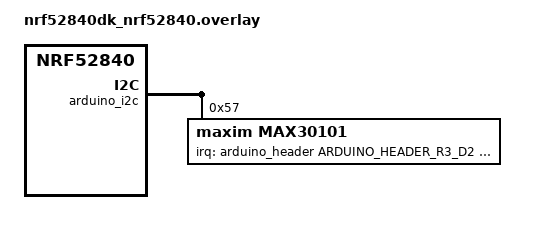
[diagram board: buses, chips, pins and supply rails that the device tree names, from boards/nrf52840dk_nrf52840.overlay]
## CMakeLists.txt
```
cmake_minimum_required(VERSION 3.20.0)

set(COMMON ${CMAKE_CURRENT_SOURCE_DIR}/../common)
list(APPEND EXTRA_CONF_FILE ${COMMON}/limits_crypto.conf ${COMMON}/pairing_crypto.conf
    ${CMAKE_CURRENT_SOURCE_DIR}/limits_store.conf)
find_package(Zephyr REQUIRED HINTS $ENV{ZEPHYR_BASE})
project(medsec_oximeter LANGUAGES C)

# core/ is the portable C the host tests run; the firmware builds it from the same sources.
set(CORE ${CMAKE_CURRENT_SOURCE_DIR}/../core)
target_sources(app PRIVATE src/main.c src/admission.c src/alarm_service.c src/device_identity.c
    src/event_log.c src/limits_crypto.c src/limits_store.c src/log_mac.c src/new_patient.c
    src/pairing.c src/plx_service.c src/supervisor.c src/update_guard.c src/update_log.c
    ${CORE}/src/alarm.c ${CORE}/src/device_key.c ${CORE}/src/limits_auth.c
    ${CORE}/src/link_admission.c ${CORE}/src/oximetry.c ${CORE}/src/plx.c
    ${CORE}/src/security_log.c ${CORE}/src/sensor_fifo.c ${CORE}/src/supervision.c
    ${COMMON}/src/medsec_crypto.c ${COMMON}/src/pairing_seal.c)
# common/ holds what the oximeter and the hub share.
target_include_directories(app PRIVATE ${CORE}/include ${COMMON}/include)
# The update guard names image-manager commands, and that header includes MCUboot's image headers.
target_link_libraries(app PRIVATE MCUBOOT_BOOTUTIL)
```

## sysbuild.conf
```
# MCUboot checks the oximeter's signature at every boot (docs/security/updatability.md). Swap using
# offset keeps the previous image until a new one has proved it works.
SB_CONFIG_BOOTLOADER_MCUBOOT=y
SB_CONFIG_BOOT_SIGNATURE_TYPE_ECDSA_P256=y
SB_CONFIG_MCUBOOT_MODE_SWAP_USING_OFFSET=y
# Made by app/sysbuild.cmake. Each image expands the path itself.
SB_CONFIG_BOOT_SIGNATURE_KEY_FILE="${WEST_TOPDIR}/build/release-key.pem"
```

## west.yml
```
# The Zephyr tree this firmware is built against. The repository root is the west workspace
# (west init -l app); everything west checks out lands under deps/, which git ignores.
manifest:
  remotes:
    - name: zephyrproject-rtos
      url-base: https://github.com/zephyrproject-rtos

  projects:
    - name: zephyr
      remote: zephyrproject-rtos
      revision: v4.4.2
      import:
        path-prefix: deps
        # Only the modules an nRF52840 build needs; add one when a feature needs it.
        name-allowlist:
          - cmsis_6     # CMSIS-Core for Cortex-M
          - hal_nordic  # nrfx drivers and the nRF devicetree bindings
          - mcuboot     # the bootloader that checks image signatures
          # Mbed TLS and TF-PSA-Crypto, which provides the PSA Crypto API.
          - mbedtls
          - tf-psa-crypto
          - zcbor       # CBOR, for MCUmgr's update protocol
```

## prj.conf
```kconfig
CONFIG_STD_C17=y
CONFIG_COMPILER_WARNINGS_AS_ERRORS=y
# The SpO2 ratio and the pulse period are single-precision floats.
CONFIG_FPU=y

CONFIG_LOG=y

CONFIG_SENSOR=y
# The sample callback sends BLE notifications, which must not run on the system work queue: the
# Bluetooth stack can need that queue to free the very buffers a notification waits for.
CONFIG_MAX30101_TRIGGER_OWN_THREAD=y
CONFIG_MAX30101_THREAD_SIZE=2048

CONFIG_BT=y
CONFIG_BT_PERIPHERAL=y
CONFIG_BT_DEVICE_NAME="medsec-oximeter"
# Advertises under a resolvable private address, a new one each boot and every 15 minutes, which
# only its bonded gateway can resolve: no fixed address to follow it by (threat T-13). The name
# isn't advertised either (src/admission.c).
CONFIG_BT_PRIVACY=y
# Pairs by LE Secure Connections only, authenticated with its sealed out-of-band data
# (src/pairing.c): security level 4 or nothing.
CONFIG_BT_SMP=y
CONFIG_BT_SMP_SC_ONLY=y
# Keeps the bond in flash, with the settings, so a reset doesn't mean pairing again. Zephyr writes
# it from the system work queue, whose default stack a settings write overflows.
CONFIG_BT_SETTINGS=y
CONFIG_SYSTEM_WORKQUEUE_STACK_SIZE=2048
# The hub starts encryption itself on every reconnection, so the oximeter doesn't also ask for it:
# with both starting it at once, the reconnection stalled in simulation.
CONFIG_BT_GATT_AUTO_SEC_REQ=n
# One bond, with the gateway. Pairing needs the backend's sealed data, so a new pairing is one the
# backend authorized, a replacement gateway, and it takes the old one's place.
CONFIG_BT_MAX_PAIRED=1
CONFIG_BT_KEYS_OVERWRITE_OLDEST=y
# Two connections, so a central that connects and never pairs can't shut the gateway out: while
# one holds a connection, the controller takes the other only from the bonded gateway's address,
# on its accept list (src/admission.c).
CONFIG_BT_MAX_CONN=2
CONFIG_BT_FILTER_ACCEPT_LIST=y
# The gateway sets the link's timing: a fast interval while it sends an update, a short supervision
# timeout so it soon notices a silent oximeter. The oximeter still publishes its preferences, but no
# longer asks for them 5 s into a link, which undid a fast interval mid-update.
CONFIG_BT_GAP_AUTO_UPDATE_CONN_PARAMS=n
# Only the Bluetooth features the oximeter uses, since a device that hasn't paired reaches every one
# that's on (tools/bt_features.py checks the build): no parameter requests in the link layer, LE Ping,
# feature exchange it starts, or channel-count requests, and no GATT caching or Read Multiple.
CONFIG_BT_CTLR_CONN_PARAM_REQ=n
CONFIG_BT_CTLR_LE_PING=n
CONFIG_BT_CTLR_PER_INIT_FEAT_XCHG=n
CONFIG_BT_CTLR_MIN_USED_CHAN=n
CONFIG_BT_GATT_CACHING=n
CONFIG_BT_GATT_READ_MULTIPLE=n
CONFIG_BT_GATT_READ_MULT_VAR_LEN=n

# Button 1's long press, which resets the oximeter for a new patient (src/new_patient.c).
CONFIG_INPUT=y

# A 247-byte ATT MTU: an update arrives in big pieces, and a signed limits change (21 bytes) in one
# write. It's the largest that still fits one 251-byte link-layer packet.
CONFIG_BT_BUF_ACL_RX_SIZE=251
CONFIG_BT_L2CAP_TX_MTU=247
# Data Length Extension: a whole ATT payload, such as a signed limits change, travels in one
# link-layer packet rather than several. Renode's radio model also needs it on an encrypted link: it
# delivers a packet that arrives while the receiver is still turning around one connection event
# late, and the link never catches up.
CONFIG_BT_CTLR_DATA_LENGTH_MAX=251
CONFIG_BT_BUF_ACL_TX_SIZE=251
# PSA Crypto starts on the main thread, and the HMAC check runs on the Bluetooth receive thread.
CONFIG_MAIN_STACK_SIZE=2048
CONFIG_BT_RX_STACK_SIZE=2048

# Resets the oximeter if it stops running (app/src/supervisor.c).
CONFIG_WATCHDOG=y

# The reset cause, for the security event log's start-up records.
CONFIG_HWINFO=y

# Reads the signed header of the running image, for its version, and marks an update as working.
CONFIG_STREAM_FLASH=y
CONFIG_IMG_MANAGER=y

# The release's security counter, in its signed header. Only a release that fixes a vulnerability
# raises it, and MCUboot then refuses every release before it.
CONFIG_MCUBOOT_EXTRA_IMGTOOL_ARGS="--security-counter 1"

# Updates over Bluetooth: MCUmgr's SMP server, with only what an update needs: image upload and
# state, and a reset. Zephyr allows SMP only over an authenticated link
# (MCUMGR_TRANSPORT_BT_PERM_RW_AUTHEN, its default once pairing is on).
CONFIG_NET_BUF=y
CONFIG_ZCBOR=y
CONFIG_MCUMGR=y
CONFIG_MCUMGR_TRANSPORT_BT=y
# A request longer than one ATT write comes in pieces.
CONFIG_MCUMGR_TRANSPORT_BT_REASSEMBLY=y
CONFIG_MCUMGR_GRP_IMG=y
CONFIG_MCUMGR_GRP_OS=y
CONFIG_MCUMGR_GRP_OS_ECHO=n
# The gateway marks an update for a test boot and nothing more; only the oximeter's self-test keeps
# it. It can't confirm an image that isn't running, and src/update_guard.c refuses any image-state
# change while an update is on trial.
CONFIG_MCUMGR_GRP_IMG_ALLOW_CONFIRM_NON_ACTIVE_SLOT=n
CONFIG_MCUMGR_GRP_IMG_ALLOW_CONFIRM_NON_ACTIVE_IMAGE_SECONDARY=n
CONFIG_MCUMGR_MGMT_NOTIFICATION_HOOKS=y
CONFIG_MCUMGR_SMP_COMMAND_STATUS_HOOKS=y
# MCUboot's library logs each slot's state every time it's asked, many times a second during an
# upload; only its warnings are news.
CONFIG_MCUBOOT_UTIL_LOG_LEVEL_WRN=y

# The build's metadata, which west spdx reads for the SBOM (tools/sbom.py).
CONFIG_BUILD_OUTPUT_META=y
```

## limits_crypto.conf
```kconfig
# PSA Crypto for signed alarm-limit changes: HMAC-SHA256, and random challenges. The firmware and
# app/tests/limits_crypto both use this file, so the tests check the configuration that ships.
CONFIG_PSA_CRYPTO=y
# Key material in fixed slots rather than on a heap.
CONFIG_MBEDTLS_PSA_STATIC_KEY_SLOTS=y
CONFIG_PSA_WANT_ALG_SHA_256=y
CONFIG_PSA_WANT_ALG_HMAC=y
CONFIG_PSA_WANT_KEY_TYPE_HMAC=y
CONFIG_ENTROPY_GENERATOR=y
```

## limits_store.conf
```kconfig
# Alarm limits kept in flash through resets: Zephyr's settings on NVS, in the storage partition.
# The firmware and app/tests/limits_store both use this file.
CONFIG_FLASH=y
CONFIG_FLASH_MAP=y
CONFIG_NVS=y
CONFIG_SETTINGS=y
CONFIG_SETTINGS_NVS=y
```

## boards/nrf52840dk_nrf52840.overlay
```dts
#include <zephyr/dt-bindings/gpio/arduino-header-r3.h>
#include <zephyr/dt-bindings/input/input-event-codes.h>

/ {
	/* Button 1 held for 5 s resets the oximeter for a new patient (src/new_patient.c). Long enough
	 * that a patient lying on it, or a brush in passing, doesn't. */
	new_patient_press: new-patient-press {
		compatible = "zephyr,input-longpress";
		input = <&{/buttons}>;
		input-codes = <INPUT_KEY_0>;
		long-codes = <INPUT_KEY_DELETE>;
		long-delay-ms = <5000>;
	};
};

/* Renode models the nRF52840's TWI, not its TWIM (EasyDMA) variant of the same I2C block, so
 * the firmware uses TWI and the image tested in simulation is the one that runs on the board. */
&arduino_i2c {
	compatible = "nordic,nrf-twi";
	status = "okay";

	max30101: max30101@57 {
		compatible = "maxim,max30101";
		reg = <0x57>;
		/* Open drain, so it needs the pull-up. */
		irq-gpios = <&arduino_header ARDUINO_HEADER_R3_D2 (GPIO_ACTIVE_LOW | GPIO_PULL_UP)>;
		acq-mode = "spo2";
		smp-sr = <100>;
		/* 411 us LED pulses give the full 18-bit resolution. */
		led-pw = <411>;
	};
};
```

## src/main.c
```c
#include "alarm_service.h"
#include "device_identity.h"
#include "event_log.h"
#include "log_mac.h"
#include "oximetry.h"
#include "pairing.h"
#include "pairing_seal.h"
#include "plx_service.h"
#include "sensor_fifo.h"
#include "supervisor.h"
#include "update_guard.h"
#include "update_log.h"

#include <mbedtls/platform_util.h>
#include <zephyr/device.h>
#include <zephyr/dfu/mcuboot.h>
#include <zephyr/drivers/i2c.h>
#include <zephyr/drivers/sensor.h>
#include <zephyr/logging/log.h>

LOG_MODULE_REGISTER(oximeter, LOG_LEVEL_INF);

#define SENSOR_NODE DT_NODELABEL(max30101)
/* FIFO_WR_PTR, then OVF_COUNTER and FIFO_RD_PTR: what sensor_fifo_t holds. */
#define SENSOR_FIFO_REGISTERS 0x04u
/* Samples per second reaching the FIFO: the sample rate after on-chip averaging. */
#define SAMPLE_RATE_HZ (DT_PROP(SENSOR_NODE, smp_sr) / DT_PROP(SENSOR_NODE, smp_ave))

BUILD_ASSERT(SAMPLE_RATE_HZ == OXIMETRY_SAMPLE_RATE_HZ,
             "the oximetry analysis expects the sensor at OXIMETRY_SAMPLE_RATE_HZ");

static const struct device *const sensor = DEVICE_DT_GET(SENSOR_NODE);
static const struct i2c_dt_spec sensor_bus = I2C_DT_SPEC_GET(SENSOR_NODE);
static oximetry_t oximetry;

/* Called with each reading: the self-test an update must pass. The sensor answered with its part
 * ID, Bluetooth is up, since main() starts the sensor after it, and the analysis has run. Until the
 * image is marked as working, a reset brings back the one before it. A failed write is tried again
 * with the next reading. */
static void confirm_image(void)
{
    static bool confirmed;

    if (confirmed) {
        return;
    }
    if (!boot_is_img_confirmed()) {
        if (boot_write_img_confirmed() != 0) {
            LOG_ERR("could not mark the image as working");
            return;
        }
        LOG_INF("image marked as working");
    }
    confirmed = true;
}

/* Takes the oldest sample in the sensor's FIFO into the analysis, and sends the reading once a
 * second. */
static void take_sample(const struct device *dev)
{
    struct sensor_value red;
    struct sensor_value infrared;
    oximetry_reading_t reading;

    if ((sensor_sample_fetch(dev) != 0) || (sensor_channel_get(dev, SENSOR_CHAN_RED, &red) != 0) ||
        (sensor_channel_get(dev, SENSOR_CHAN_IR, &infrared) != 0)) {
        LOG_WRN("sample lost");
        return;
    }
    supervisor_sample();

    /* The driver reports 18-bit counts, never negative. */
    const oximetry_sample_t sample = {
        .red = (uint32_t)red.val1,
        .infrared = (uint32_t)infrared.val1,
    };

    if (!oximetry_add_sample(&oximetry, sample, &reading)) {
        return;
    }
    confirm_image();
    /* Readings leave only over the encrypted link and as the LED's alarm, never on the console,
     * which anyone holding the oximeter can read (threat T-20). */
    plx_service_send(&reading);
    alarm_service_update(&reading);
}

/* Runs on the sensor driver's thread when the sensor's INT line falls: a new sample is in its FIFO.
 * Whatever held this thread up may have left more, so all of them are read. Reading one an
 * interrupt would leave the rest waiting for good, until the FIFO filled and dropped new ones. */
static void on_sample(const struct device *dev, const struct sensor_trigger *trigger)
{
    uint8_t registers[3];

    ARG_UNUSED(trigger);
    if (i2c_burst_read_dt(&sensor_bus, SENSOR_FIFO_REGISTERS, registers, sizeof registers) != 0) {
        LOG_WRN("could not read the sensor's FIFO");
        return;
    }
    const sensor_fifo_t fifo = {
        .write_pointer = registers[0],
        .overflow = registers[1],
        .read_pointer = registers[2],
    };

    for (uint32_t waiting = sensor_fifo_waiting(fifo); waiting > 0u; waiting--) {
        take_sample(dev);
    }
    /* A full FIFO keeps its oldest samples, so the ones it lost came after those just read: a new
     * window starts here rather than one analysed across the gap. */
    if (fifo.overflow != 0u) {
        LOG_WRN("the sensor lost samples; starting a new reading");
        oximetry_init(&oximetry);
    }
}

/* With no samples there's nothing to measure, so a stopped sensor reads as no reading: the
 * technical alarm sounds and the hub hears it, rather than everything falling silent. */
static void on_stall(void)
{
    static const oximetry_reading_t none = {.valid = false};

    LOG_WRN("no samples from the sensor");
    plx_service_send(&none);
    alarm_service_update(&none);
}

/* Logs the version MCUboot checked, from the signed header of the slot this image runs from, and
 * returns it: zero if the header can't be read. */
static struct mcuboot_img_sem_ver log_start(void)
{
    struct mcuboot_img_header header;

    if (boot_read_bank_header(boot_fetch_active_slot(), &header, sizeof header) != 0) {
        LOG_INF("medsec-oximeter started; its image header can't be read");
        return (struct mcuboot_img_sem_ver){0};
    }
    const struct mcuboot_img_sem_ver version = header.h.v1.sem_ver;

    LOG_INF("medsec-oximeter %u.%u.%u+%u started", version.major, version.minor, version.revision,
            version.build_num);
    return version;
}

/* A key from UICR into the module that uses it, wiping the copy here. */
static void load_key(device_key_purpose_t purpose, bool (*init)(const uint8_t *key, size_t length),
                     const char *name)
{
    uint8_t key[DEVICE_KEY_SIZE];

    if (device_identity_key(purpose, key) && !init(key, sizeof key)) {
        LOG_ERR("could not load the %s key", name);
    }
    mbedtls_platform_zeroize(key, sizeof key);
}

int main(void)
{
    static const struct sensor_trigger data_ready = {
        .type = SENSOR_TRIG_DATA_READY,
        .chan = SENSOR_CHAN_RED,
    };

    const struct mcuboot_img_sem_ver version = log_start();

    /* Before the log starts, so even the start-up record is tagged. Without a key, records are
     * still kept, with tags that verify against nothing; without a pairing key, nothing can
     * pair. */
    load_key(DEVICE_KEY_LOG, log_mac_init, "log");
    load_key(DEVICE_KEY_PAIRING, pairing_seal_init, "pairing");
    /* Monitoring goes on without the log if it can't start. */
    if (event_log_start(&version) != 0) {
        LOG_ERR("security event log unavailable");
    }
    oximetry_init(&oximetry);
    if (alarm_service_init() != 0) {
        LOG_ERR("could not set up the alarm LED");
        return 0;
    }
    if (pairing_init() != 0) {
        LOG_ERR("could not set up pairing");
        return 0;
    }
    update_guard_init();
    update_log_init();
    if (plx_service_start() != 0) {
        LOG_ERR("could not start Bluetooth");
        return 0;
    }
    /* Started before the sensor, so a sensor that never sends a sample raises the alarm too. */
    if (supervisor_start(on_stall) != 0) {
        LOG_ERR("could not start the watchdog");
        return 0;
    }
    if (!device_is_ready(sensor) || (sensor_trigger_set(sensor, &data_ready, on_sample) != 0)) {
        LOG_ERR("pulse oximetry sensor not working");
    }
    return 0;
}
```

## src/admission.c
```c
#include "admission.h"

#include "link_admission.h"

#include <zephyr/bluetooth/bluetooth.h>
#include <zephyr/bluetooth/conn.h>
#include <zephyr/bluetooth/uuid.h>
#include <zephyr/kernel.h>
#include <zephyr/logging/log.h>

LOG_MODULE_REGISTER(admission, LOG_LEVEL_INF);

BUILD_ASSERT(CONFIG_BT_MAX_CONN == LINK_ADMISSION_CONNECTIONS,
             "one connection for any central, one kept for the gateway");

static const struct bt_data advertising[] = {
    BT_DATA_BYTES(BT_DATA_FLAGS, BT_LE_AD_GENERAL | BT_LE_AD_NO_BREDR),
    BT_DATA_BYTES(BT_DATA_UUID16_ALL, BT_UUID_16_ENCODE(BT_UUID_POS_VAL)),
};

/* The controller takes a connection only from a central on its accept list. */
static const struct bt_le_adv_param gateway_only =
    BT_LE_ADV_PARAM_INIT(BT_LE_ADV_OPT_CONN | BT_LE_ADV_OPT_FILTER_CONN, BT_GAP_ADV_FAST_INT_MIN_1,
                         BT_GAP_ADV_FAST_INT_MAX_1, NULL);

/* Bluetooth's own pairing timeout. The gateway pairs, or encrypts with its bond, well within it; a
 * central still below level 4 by then is a stranger holding a connection, and is dropped. */
#define PAIRING_DEADLINE_MS 30000

/* A real deadline is at least PAIRING_DEADLINE_MS of uptime. */
#define NO_DEADLINE 0

/* The connection callbacks run on the Bluetooth receive thread, the recycled one and the pairing
 * deadline on the system work queue. */
static K_MUTEX_DEFINE(links_lock);

/* Uptime by which each connection's central must reach level 4, by connection index. The connected
 * callback sets it and the disconnected one clears it: bt_conn_foreach can find a connection before
 * its connected callback runs, which would otherwise meet the last central's deadline. */
static int64_t deadline[CONFIG_BT_MAX_CONN];

/* Whom the oximeter advertises to now, under links_lock. */
static link_admission_t advertised = LINK_ADMIT_NOBODY;

static void drop_unpaired(struct k_work *work);
static K_WORK_DELAYABLE_DEFINE(pairing_deadline, drop_unpaired);

static void count_link(struct bt_conn *conn, void *data)
{
    link_state_t *links = data;
    struct bt_conn_info info;

    if ((bt_conn_get_info(conn, &info) != 0) || (info.state != BT_CONN_STATE_CONNECTED)) {
        return;
    }
    links->connected++;
    if (bt_conn_get_security(conn) >= BT_SECURITY_L4) {
        links->gateway_linked = true;
    }
}

/* The oximeter keeps one bond (CONFIG_BT_MAX_PAIRED), the gateway's. */
static void note_gateway(const struct bt_bond_info *bond, void *data)
{
    bt_addr_le_copy(data, &bond->addr);
}

static int advertise_with(const struct bt_le_adv_param *param)
{
    return bt_le_adv_start(param, advertising, ARRAY_SIZE(advertising), NULL, 0u);
}

/* Advertising stops when a central connects, and the accept list can't change while it runs, so it
 * starts again as link_admission decides whenever that changes. Only then: stopping connectable
 * advertising frees its connection object, and recycling that object calls this again. */
static void advertise(void)
{
    link_state_t links = {0};
    bt_addr_le_t gateway;
    int err = 0;

    bt_addr_le_copy(&gateway, BT_ADDR_LE_ANY);
    (void)k_mutex_lock(&links_lock, K_FOREVER);
    bt_conn_foreach(BT_CONN_TYPE_LE, count_link, &links);
    bt_foreach_bond(BT_ID_DEFAULT, note_gateway, &gateway);
    links.bonded = !bt_addr_le_eq(&gateway, BT_ADDR_LE_ANY);

    const link_admission_t admitted = link_admission(links);

    if (admitted == advertised) {
        (void)k_mutex_unlock(&links_lock);
        return;
    }
    (void)bt_le_adv_stop();
    if (admitted == LINK_ADMIT_ANYONE) {
        err = advertise_with(BT_LE_ADV_CONN_FAST_1);
    } else if (admitted == LINK_ADMIT_GATEWAY) {
        err = bt_le_filter_accept_list_clear();
        if (err == 0) {
            err = bt_le_filter_accept_list_add(&gateway);
        }
        if (err == 0) {
            err = advertise_with(&gateway_only);
        }
    }
    advertised = (err == 0) ? admitted : LINK_ADMIT_NOBODY;
    (void)k_mutex_unlock(&links_lock);
    if (err != 0) {
        LOG_ERR("advertising failed: %d", err);
    } else if (admitted != LINK_ADMIT_NOBODY) {
        LOG_INF("advertising to %s",
                (admitted == LINK_ADMIT_ANYONE) ? "any central" : "the gateway only");
    } else {
        LOG_INF("not advertising");
    }
}

static void drop_if_unpaired(struct bt_conn *conn, void *data)
{
    int64_t *next = data;
    const uint8_t index = bt_conn_index(conn);

    if ((deadline[index] == NO_DEADLINE) || (bt_conn_get_security(conn) >= BT_SECURITY_L4)) {
        return;
    }
    if (k_uptime_get() < deadline[index]) {
        *next = MIN(*next, deadline[index]);
        return;
    }
    deadline[index] = NO_DEADLINE;
    LOG_WRN("central didn't pair in time");
    (void)bt_conn_disconnect(conn, BT_HCI_ERR_AUTH_FAIL);
}

static void drop_unpaired(struct k_work *work)
{
    int64_t next = INT64_MAX;

    ARG_UNUSED(work);
    (void)k_mutex_lock(&links_lock, K_FOREVER);
    bt_conn_foreach(BT_CONN_TYPE_LE, drop_if_unpaired, &next);
    (void)k_mutex_unlock(&links_lock);
    if (next != INT64_MAX) {
        (void)k_work_schedule(&pairing_deadline, K_TIMEOUT_ABS_MS(next));
    }
}

static void set_deadline(const struct bt_conn *conn, int64_t at)
{
    (void)k_mutex_lock(&links_lock, K_FOREVER);
    deadline[bt_conn_index(conn)] = at;
    (void)k_mutex_unlock(&links_lock);
}

/* Zephyr's connection callback types give the connection as non-const, here and below. */
/* cppcheck-suppress constParameterCallback */
static void on_connected(struct bt_conn *conn, uint8_t err)
{
    /* The controller stops advertising as it reports a connection. */
    (void)k_mutex_lock(&links_lock, K_FOREVER);
    advertised = LINK_ADMIT_NOBODY;
    (void)k_mutex_unlock(&links_lock);
    if (err == 0u) {
        LOG_INF("central connected");
        set_deadline(conn, k_uptime_get() + PAIRING_DEADLINE_MS);
        /* Every deadline is as far off as this one, so one already pending comes first. */
        (void)k_work_schedule(&pairing_deadline, K_MSEC(PAIRING_DEADLINE_MS));
    }
    advertise();
}

/* cppcheck-suppress constParameterCallback */
static void on_disconnected(struct bt_conn *conn, uint8_t reason)
{
    set_deadline(conn, NO_DEADLINE);
    LOG_INF("central disconnected (reason 0x%02x)", reason);
}

/* Reaching level 4 makes a central the gateway, and then nobody else needs a connection. */
static void on_security_changed(struct bt_conn *conn, bt_security_t level, enum bt_security_err err)
{
    ARG_UNUSED(conn);
    ARG_UNUSED(level);
    ARG_UNUSED(err);
    advertise();
}

/* A connectable advertiser needs a free connection object, and a disconnected central's is free
 * only once it's recycled. */
static void on_recycled(void)
{
    advertise();
}

BT_CONN_CB_DEFINE(admission_callbacks) = {
    .connected = on_connected,
    .disconnected = on_disconnected,
    .security_changed = on_security_changed,
    .recycled = on_recycled,
};

void admission_start(void)
{
    advertise();
}
```

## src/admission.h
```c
#ifndef ADMISSION_H
#define ADMISSION_H

/** Starts advertising, then advertises to whoever core/link_admission says may connect next, as
 * centrals connect, pair and leave, and drops a central that doesn't pair within 30 s. Call after
 * bt_enable, once the bond is loaded. */
void admission_start(void);

#endif
```

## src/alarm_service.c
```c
#include "alarm_service.h"

#include "alarm.h"
#include "device_identity.h"
#include "event_log.h"
#include "limits_auth.h"
#include "limits_crypto.h"
#include "limits_store.h"
#include "medsec_bt.h"

#include <errno.h>
#include <mbedtls/platform_util.h>
#include <string.h>
#include <zephyr/bluetooth/conn.h>
#include <zephyr/bluetooth/gatt.h>
#include <zephyr/drivers/gpio.h>
#include <zephyr/logging/log.h>
#include <zephyr/spinlock.h>

LOG_MODULE_REGISTER(alarm_service, LOG_LEVEL_INF);

static const struct bt_uuid_128 service_uuid = BT_UUID_INIT_128(MEDSEC_ALARM_SERVICE_VAL);
static const struct bt_uuid_128 limits_uuid = BT_UUID_INIT_128(MEDSEC_ALARM_LIMITS_VAL);
static const struct bt_uuid_128 state_uuid = BT_UUID_INIT_128(MEDSEC_ALARM_STATE_VAL);
static const struct bt_uuid_128 challenge_uuid = BT_UUID_INIT_128(MEDSEC_ALARM_CHALLENGE_VAL);
static const struct bt_uuid_128 log_uuid = BT_UUID_INIT_128(MEDSEC_SECURITY_LOG_VAL);
static const struct bt_uuid_128 device_id_uuid = BT_UUID_INIT_128(MEDSEC_DEVICE_ID_VAL);
static const struct bt_uuid_128 log_head_uuid = BT_UUID_INIT_128(MEDSEC_LOG_HEAD_VAL);

/* LED1 on the DK. */
static const struct gpio_dt_spec led = GPIO_DT_SPEC_GET(DT_ALIAS(led0), gpios);

/* The limits are written from the Bluetooth thread and read from the sensor thread. */
static struct k_spinlock lock;
static alarm_limits_t limits;
/* Readings come from the sensor's thread, and "no reading" from the supervisor's when the sensor
 * stops. */
static K_MUTEX_DEFINE(update_lock);
static uint8_t state; /* ALARM_* bits, under update_lock */

/* Used only on the Bluetooth receive thread (CONFIG_BT_RECV_WORKQ_BT), which runs the GATT and
 * connection callbacks, after alarm_service_init: no lock needed. */
static limits_auth_t auth;

static ssize_t read_limits(struct bt_conn *conn, const struct bt_gatt_attr *attr, void *buf,
                           uint16_t len, uint16_t offset)
{
    uint8_t value[ALARM_LIMITS_SIZE];
    const k_spinlock_key_t key = k_spin_lock(&lock);

    alarm_limits_encode(&limits, value);
    k_spin_unlock(&lock, key);
    return bt_gatt_attr_read(conn, attr, buf, len, offset, value, sizeof value);
}

static ssize_t write_limits(struct bt_conn *conn, const struct bt_gatt_attr *attr, const void *buf,
                            uint16_t len, uint16_t offset, uint8_t flags)
{
    alarm_limits_t requested;

    ARG_UNUSED(conn);
    ARG_UNUSED(attr);
    ARG_UNUSED(flags);
    if (offset != 0u) {
        return BT_GATT_ERR(BT_ATT_ERR_INVALID_OFFSET);
    }
    const limits_auth_result_t result = limits_auth_apply(&auth, buf, len, &requested);

    if (result != LIMITS_AUTH_ACCEPTED) {
        const uint8_t reason = (uint8_t)result;

        LOG_WRN("alarm limits change refused (reason %d)", (int)result);
        (void)event_log_record(SECURITY_EVENT_LIMITS_REFUSED, &reason, sizeof reason);
        return BT_GATT_ERR(BT_ATT_ERR_VALUE_NOT_ALLOWED);
    }

    uint8_t encoded[ALARM_LIMITS_SIZE];

    alarm_limits_encode(&requested, encoded);
    /* Saved before it applies: a change a reset would undo is refused, so the clinician knows. */
    const int err = limits_store_save(&requested);

    if (err != 0) {
        LOG_ERR("alarm limits change refused: saving it failed (%d)", err);
        (void)event_log_record(SECURITY_EVENT_LIMITS_UNSAVED, encoded, sizeof encoded);
        return BT_GATT_ERR(BT_ATT_ERR_UNLIKELY);
    }

    const k_spinlock_key_t key = k_spin_lock(&lock);

    limits = requested;
    k_spin_unlock(&lock, key);
    LOG_INF("alarm limits changed");
    (void)event_log_record(SECURITY_EVENT_LIMITS_ACCEPTED, encoded, sizeof encoded);
    return (ssize_t)len;
}

static ssize_t read_state(struct bt_conn *conn, const struct bt_gatt_attr *attr, void *buf,
                          uint16_t len, uint16_t offset)
{
    const uint8_t value = state;

    return bt_gatt_attr_read(conn, attr, buf, len, offset, &value, sizeof value);
}

static ssize_t read_challenge(struct bt_conn *conn, const struct bt_gatt_attr *attr, void *buf,
                              uint16_t len, uint16_t offset)
{
    return bt_gatt_attr_read(conn, attr, buf, len, offset, limits_auth_challenge(&auth),
                             LIMITS_AUTH_CHALLENGE_SIZE);
}

/* The whole log, oldest entry first; a central reads it in pieces, at increasing offsets. */
static ssize_t read_log(struct bt_conn *conn, const struct bt_gatt_attr *attr, void *buf,
                        uint16_t len, uint16_t offset)
{
    static uint8_t entries[SECURITY_LOG_CAPACITY * SECURITY_LOG_ENTRY_SIZE];
    const size_t length = event_log_read(entries, sizeof entries);

    return bt_gatt_attr_read(conn, attr, buf, len, offset, entries, (uint16_t)length);
}

/* The backend's challenge, from the central now connected: on the Bluetooth receive thread only. */
static uint8_t log_challenge[SECURITY_LOG_CHALLENGE_SIZE];
static bool log_challenged;

static ssize_t write_log_head(struct bt_conn *conn, const struct bt_gatt_attr *attr,
                              const void *buf, uint16_t len, uint16_t offset, uint8_t flags)
{
    ARG_UNUSED(conn);
    ARG_UNUSED(attr);
    ARG_UNUSED(flags);
    if ((offset != 0u) || (len != sizeof log_challenge)) {
        return BT_GATT_ERR(BT_ATT_ERR_INVALID_ATTRIBUTE_LEN);
    }
    (void)memcpy(log_challenge, buf, sizeof log_challenge);
    log_challenged = true;
    return len;
}

/* Answered as it's read, so the number is the newest when the backend asks. */
static ssize_t read_log_head(struct bt_conn *conn, const struct bt_gatt_attr *attr, void *buf,
                             uint16_t len, uint16_t offset)
{
    uint8_t answer[SECURITY_LOG_HEAD_ANSWER_SIZE];

    if (!log_challenged || (event_log_answer(log_challenge, answer) != 0)) {
        return BT_GATT_ERR(BT_ATT_ERR_UNLIKELY);
    }
    return bt_gatt_attr_read(conn, attr, buf, len, offset, answer, sizeof answer);
}

static ssize_t read_device_id(struct bt_conn *conn, const struct bt_gatt_attr *attr, void *buf,
                              uint16_t len, uint16_t offset)
{
    uint8_t id[DEVICE_ID_SIZE];

    if (device_identity_id(id) != 0) {
        return BT_GATT_ERR(BT_ATT_ERR_UNLIKELY);
    }
    return bt_gatt_attr_read(conn, attr, buf, len, offset, id, sizeof id);
}

/* Only a central paired at level 4 reaches the limits, the alarms and the log; even then only a
 * holder of the limits key can change the limits, and only once per challenge (threats T-01 to
 * T-03). The device ID stays open: a central needs it to pair. */
BT_GATT_SERVICE_DEFINE(
    alarm_service, BT_GATT_PRIMARY_SERVICE(&service_uuid),
    BT_GATT_CHARACTERISTIC(&limits_uuid.uuid, BT_GATT_CHRC_READ | BT_GATT_CHRC_WRITE,
                           MEDSEC_PERM_READ_L4 | MEDSEC_PERM_WRITE_L4, read_limits, write_limits,
                           NULL),
    BT_GATT_CHARACTERISTIC(&state_uuid.uuid, BT_GATT_CHRC_READ | BT_GATT_CHRC_NOTIFY,
                           MEDSEC_PERM_READ_L4, read_state, NULL, NULL),
    BT_GATT_CCC(NULL, BT_GATT_PERM_READ | MEDSEC_PERM_WRITE_L4),
    BT_GATT_CHARACTERISTIC(&challenge_uuid.uuid, BT_GATT_CHRC_READ, MEDSEC_PERM_READ_L4,
                           read_challenge, NULL, NULL),
    BT_GATT_CHARACTERISTIC(&log_uuid.uuid, BT_GATT_CHRC_READ, MEDSEC_PERM_READ_L4, read_log, NULL,
                           NULL),
    BT_GATT_CHARACTERISTIC(&log_head_uuid.uuid, BT_GATT_CHRC_READ | BT_GATT_CHRC_WRITE,
                           MEDSEC_PERM_READ_L4 | MEDSEC_PERM_WRITE_L4, read_log_head,
                           write_log_head, NULL),
    BT_GATT_CHARACTERISTIC(&device_id_uuid.uuid, BT_GATT_CHRC_READ, BT_GATT_PERM_READ,
                           read_device_id, NULL, NULL));

static void on_connected(struct bt_conn *conn, uint8_t err)
{
    if (err != 0u) {
        return;
    }
    /* A command made on an earlier connection is never valid on this one, nor a challenge. */
    limits_auth_new_challenge(&auth);
    log_challenged = false;

    const bt_addr_le_t *central = bt_conn_get_dst(conn);
    uint8_t detail[1u + sizeof central->a.val] = {central->type};

    (void)memcpy(&detail[1], central->a.val, sizeof central->a.val);
    (void)event_log_record(SECURITY_EVENT_CONNECTED, detail, sizeof detail);
}

static void on_disconnected(struct bt_conn *conn, uint8_t reason)
{
    ARG_UNUSED(conn);
    (void)event_log_record(SECURITY_EVENT_DISCONNECTED, &reason, sizeof reason);
}

BT_CONN_CB_DEFINE(alarm_connection_callbacks) = {
    .connected = on_connected,
    .disconnected = on_disconnected,
};

/* attrs[3] is the alarm state characteristic: after the service and the limits' two attributes. */
#define ALARM_STATE (&alarm_service.attrs[3])

int alarm_service_init(void)
{
    /* Monitoring matters more than the stored limits: if they can't be read, the defaults hold. */
    const int err = limits_store_load(&limits);

    if (err != 0) {
        LOG_ERR("stored alarm limits unreadable (%d): using the defaults", err);
    }
    uint8_t key[DEVICE_KEY_SIZE];
    const bool provisioned = device_identity_key(DEVICE_KEY_LIMITS, key);

    /* Without a key, crypto still starts, for the challenges, but loads none: every change is
     * then refused, as no tag can match. */
    const bool loaded = limits_crypto_init(key, provisioned ? sizeof key : 0u);

    mbedtls_platform_zeroize(key, sizeof key);
    if (!provisioned) {
        LOG_ERR("no device key provisioned: the alarm limits can't be changed");
        (void)event_log_record(SECURITY_EVENT_NO_DEVICE_KEY, NULL, 0u);
    } else if (!loaded) {
        return -EIO;
    }
    limits_auth_init(&auth, &limits_crypto);
    if (!gpio_is_ready_dt(&led)) {
        return -ENODEV;
    }
    return gpio_pin_configure_dt(&led, GPIO_OUTPUT_INACTIVE);
}

void alarm_service_update(const oximetry_reading_t *reading)
{
    const k_spinlock_key_t key = k_spin_lock(&lock);
    const alarm_limits_t current = limits;

    k_spin_unlock(&lock, key);

    const uint8_t alarms = alarm_check(&current, reading);

    (void)k_mutex_lock(&update_lock, K_FOREVER);
    (void)gpio_pin_set_dt(&led, (alarms != 0u) ? 1 : 0);
    if (alarms != state) {
        state = alarms;

        const int err = bt_gatt_notify(NULL, ALARM_STATE, &state, sizeof state);

        /* -ENOTCONN only means no central is listening. */
        if ((err != 0) && (err != -ENOTCONN)) {
            LOG_WRN("alarm notification failed: %d", err);
        }
    }
    k_mutex_unlock(&update_lock);
}
```

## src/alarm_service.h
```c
#ifndef ALARM_SERVICE_H
#define ALARM_SERVICE_H

#include "oximetry.h"

/** Loads the stored limits, or the defaults, and sets up the alarm LED and the limits key; call
 * before Bluetooth starts. Returns 0 or -errno. */
int alarm_service_init(void);

/** Checks a reading against the limits; lights the LED and notifies centrals when alarms change. */
void alarm_service_update(const oximetry_reading_t *reading);

#endif
```

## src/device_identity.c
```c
#include "device_identity.h"

#include <errno.h>
#include <hal/nrf_uicr.h>
#include <zephyr/drivers/hwinfo.h>
#include <zephyr/sys/byteorder.h>

/* The keys are in UICR's customer registers, eight words each in purpose order, little-endian: out
 * of every flash partition, so updates and settings never touch them, and unreadable by a
 * debugger once the debug port is locked. tools/provision.py writes them. */
#define KEY_WORDS (DEVICE_KEY_SIZE / sizeof(uint32_t))

bool device_identity_key(device_key_purpose_t purpose, uint8_t key[DEVICE_KEY_SIZE])
{
    const size_t first = (size_t)purpose * KEY_WORDS;

    for (size_t i = 0u; i < KEY_WORDS; i++) {
        sys_put_le32(NRF_UICR->CUSTOMER[first + i], &key[i * sizeof(uint32_t)]);
    }
    return device_key_provisioned(key);
}

int device_identity_id(uint8_t id[DEVICE_ID_SIZE])
{
    const ssize_t length = hwinfo_get_device_id(id, DEVICE_ID_SIZE);

    return (length == (ssize_t)DEVICE_ID_SIZE) ? 0 : -EIO;
}
```

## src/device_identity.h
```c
#ifndef DEVICE_IDENTITY_H
#define DEVICE_IDENTITY_H

#include "device_key.h"

#include <stdbool.h>
#include <stdint.h>

/** Copies the key for `purpose` the factory provisioned into UICR. False, with `key` holding
 * whatever UICR does, when none was. */
bool device_identity_key(device_key_purpose_t purpose, uint8_t key[DEVICE_KEY_SIZE]);

/** The chip's unique ID, which the backend derives the key from. Returns 0 or -errno. */
int device_identity_id(uint8_t id[DEVICE_ID_SIZE]);

#endif
```

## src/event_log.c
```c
#include "event_log.h"

#include "log_mac.h"

#include <errno.h>
#include <stdio.h>
#include <string.h>
#include <zephyr/drivers/hwinfo.h>
#include <zephyr/kernel.h>
#include <zephyr/logging/log.h>
#include <zephyr/settings/settings.h>
#include <zephyr/sys/byteorder.h>

/* Each record is kept under its slot's key, medsec/log/0 to medsec/log/63, so a new record
 * overwrites the oldest in flash as it does in the log. */
LOG_MODULE_REGISTER(event_log, LOG_LEVEL_INF);

#define LOG_KEY "medsec/log"
#define BOOT_KEY "medsec/boot"

/* Events come from start-up, the Bluetooth thread and the supervisor. */
static K_MUTEX_DEFINE(lock);
static security_log_t security;
static uint16_t boot;
/* What flash holds, by slot, so reading the log needs no flash access. */
static struct {
    security_record_t record;
    uint8_t tag[SECURITY_LOG_TAG_SIZE];
} entries[SECURITY_LOG_CAPACITY];

/* Only a complete read is decoded (CERT EXP33-C); the decoder refuses anything malformed. */
static int on_record(const char *key, size_t length, settings_read_cb read, void *read_arg,
                     void *param)
{
    uint8_t stored[SECURITY_LOG_ENTRY_SIZE];
    security_record_t record;

    ARG_UNUSED(key);
    ARG_UNUSED(param);
    if ((length == sizeof stored) && (read(read_arg, stored, sizeof stored) == (ssize_t)length) &&
        security_log_decode(stored, SECURITY_LOG_RECORD_SIZE, &record)) {
        const uint32_t slot = (record.sequence - 1u) % SECURITY_LOG_CAPACITY;

        security_log_restore(&security, stored, SECURITY_LOG_RECORD_SIZE);
        entries[slot].record = record;
        (void)memcpy(entries[slot].tag, &stored[SECURITY_LOG_RECORD_SIZE], SECURITY_LOG_TAG_SIZE);
    }
    return 0;
}

static int on_boot(const char *key, size_t length, settings_read_cb read, void *read_arg,
                   void *param)
{
    uint16_t stored;

    ARG_UNUSED(key);
    ARG_UNUSED(param);
    if (read(read_arg, &stored, sizeof stored) == (ssize_t)length) {
        boot = stored;
    }
    return 0;
}

static int load(void)
{
    security_log_init(&security);
    (void)memset(entries, 0, sizeof entries);
    boot = 0u;

    int err = settings_load_subtree_direct(LOG_KEY, on_record, NULL);

    if (err == 0) {
        err = settings_load_subtree_direct(BOOT_KEY, on_boot, NULL);
    }
    if (err == 0) {
        boot++;
        err = settings_save_one(BOOT_KEY, &boot, sizeof boot);
    }
    return err;
}

int event_log_start(const struct mcuboot_img_sem_ver *running)
{
    uint32_t cause = 0u;
    int err = settings_subsys_init();

    if (err != 0) {
        return err;
    }
    (void)k_mutex_lock(&lock, K_FOREVER);
    err = load();
    k_mutex_unlock(&lock);
    if (err != 0) {
        return err;
    }

    /* The cause stays set until cleared: clearing it makes the next start-up report its own. */
    if (hwinfo_get_reset_cause(&cause) == 0) {
        (void)hwinfo_clear_reset_cause();
    }
    const uint8_t detail[] = {(uint8_t)cause,
                              (uint8_t)(cause >> 8),
                              (uint8_t)(cause >> 16),
                              (uint8_t)(cause >> 24),
                              running->major,
                              running->minor,
                              (uint8_t)running->revision,
                              (uint8_t)(running->revision >> 8)};

    return event_log_record(SECURITY_EVENT_START, detail, sizeof detail);
}

int event_log_record(security_event_t event, const void *detail, size_t length)
{
    security_record_t record = {.uptime_ms = k_uptime_get_32(), .event = (uint8_t)event};
    uint8_t stored[SECURITY_LOG_ENTRY_SIZE];
    char key[sizeof(LOG_KEY "/63")];

    if (length > SECURITY_LOG_DETAIL_SIZE) {
        return -EINVAL;
    }
    if (length > 0u) {
        (void)memcpy(record.detail, detail, length);
    }

    (void)k_mutex_lock(&lock, K_FOREVER);
    const uint32_t slot = security_log_next(&security, &record);

    record.boot = boot;
    security_log_encode(&record, stored);
    /* Without a log key the record is still kept, with a tag of zeros: it shows as unverifiable
     * rather than going missing. */
    if (!log_mac_tag(stored, SECURITY_LOG_RECORD_SIZE, &stored[SECURITY_LOG_RECORD_SIZE])) {
        (void)memset(&stored[SECURITY_LOG_RECORD_SIZE], 0, SECURITY_LOG_TAG_SIZE);
    }
    entries[slot].record = record;
    (void)memcpy(entries[slot].tag, &stored[SECURITY_LOG_RECORD_SIZE], SECURITY_LOG_TAG_SIZE);
    (void)snprintf(key, sizeof key, LOG_KEY "/%u", (unsigned int)slot);

    const int err = settings_save_one(key, stored, sizeof stored);

    k_mutex_unlock(&lock);
    /* Callers carry on: the event still reaches the console, and the gap in numbering shows. */
    if (err != 0) {
        LOG_WRN("security event %u not saved (%d)", (unsigned int)event, err);
    }
    return err;
}

int event_log_answer(const uint8_t challenge[SECURITY_LOG_CHALLENGE_SIZE],
                     uint8_t answer[SECURITY_LOG_HEAD_ANSWER_SIZE])
{
    uint8_t message[SECURITY_LOG_HEAD_MESSAGE_SIZE];

    (void)k_mutex_lock(&lock, K_FOREVER);
    const uint32_t newest = security_log_last(&security);

    k_mutex_unlock(&lock);
    security_log_head_message(challenge, newest, message);
    sys_put_le32(newest, answer);
    return log_mac_tag(message, sizeof message, &answer[sizeof newest]) ? 0 : -EACCES;
}

size_t event_log_read(uint8_t *out, size_t size)
{
    size_t copied = 0u;

    (void)k_mutex_lock(&lock, K_FOREVER);
    const uint32_t count = security_log_count(&security);

    for (uint32_t i = 0u; (i < count) && ((copied + SECURITY_LOG_ENTRY_SIZE) <= size); i++) {
        const uint32_t slot = security_log_slot(&security, i);

        security_log_encode(&entries[slot].record, &out[copied]);
        (void)memcpy(&out[copied + SECURITY_LOG_RECORD_SIZE], entries[slot].tag,
                     SECURITY_LOG_TAG_SIZE);
        copied += SECURITY_LOG_ENTRY_SIZE;
    }
    k_mutex_unlock(&lock);
    return copied;
}
```

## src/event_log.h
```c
#ifndef EVENT_LOG_H
#define EVENT_LOG_H

#include "security_log.h"

#include <stddef.h>
#include <stdint.h>
#include <zephyr/dfu/mcuboot.h>

/** Loads the log from flash and records the start-up, with the reset cause and the version that
 * runs. Call before Bluetooth starts. Returns 0 or -errno. */
int event_log_start(const struct mcuboot_img_sem_ver *running);

/** Records an event with up to SECURITY_LOG_DETAIL_SIZE bytes of detail, from any thread.
 * Returns 0 or -errno. */
int event_log_record(security_event_t event, const void *detail, size_t length);

/** The answer to a backend's `challenge`: the newest record's sequence number (LE32), then its tag
 * under the log key. Returns 0, or -EACCES without a log key. */
int event_log_answer(const uint8_t challenge[SECURITY_LOG_CHALLENGE_SIZE],
                     uint8_t answer[SECURITY_LOG_HEAD_ANSWER_SIZE]);

/** Copies the log into `out`, oldest entry first, and returns the number of bytes copied. Each
 * entry is a record and its tag: SECURITY_LOG_ENTRY_SIZE bytes. */
size_t event_log_read(uint8_t *out, size_t size);

#endif
```

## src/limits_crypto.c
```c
#include "limits_crypto.h"

#include "medsec_crypto.h"

#include <psa/crypto.h>

static psa_key_id_t key_id = PSA_KEY_ID_NULL;

bool limits_crypto_init(const uint8_t *key, size_t length)
{
    /* The oximeter only checks these tags; it never makes them. */
    return medsec_mac_key_load(&key_id, key, length, PSA_KEY_USAGE_VERIFY_MESSAGE);
}

static bool random_bytes(uint8_t *out, size_t length)
{
    return psa_generate_random(out, length) == PSA_SUCCESS;
}

/* psa_mac_verify compares in constant time, so a tag can't be guessed a byte at a time. */
static bool verify(const uint8_t *message, size_t length, const uint8_t *tag)
{
    return psa_mac_verify(key_id, MEDSEC_MAC, message, length, tag, LIMITS_AUTH_TAG_SIZE) ==
           PSA_SUCCESS;
}

const limits_auth_crypto_t limits_crypto = {.random = random_bytes, .verify = verify};
```

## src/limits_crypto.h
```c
#ifndef LIMITS_CRYPTO_H
#define LIMITS_CRYPTO_H

#include "limits_auth.h"

#include <stdbool.h>
#include <stddef.h>
#include <stdint.h>

/** Loads the limits key, replacing any loaded before. Returns false, with no key loaded, if it
 * can't. */
bool limits_crypto_init(const uint8_t *key, size_t length);

/** HMAC-SHA256 cut to LIMITS_AUTH_TAG_SIZE bytes, and random challenges, through PSA Crypto. */
extern const limits_auth_crypto_t limits_crypto;

#endif
```

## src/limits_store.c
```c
#include "limits_store.h"

#include <zephyr/settings/settings.h>

/* Stored limits pass the same checks as limits sent over the air: flash that holds anything else
 * leaves the defaults in force. */
static int on_stored(const char *key, size_t length, settings_read_cb read, void *read_arg,
                     void *param)
{
    uint8_t value[ALARM_LIMITS_SIZE];

    ARG_UNUSED(key);
    /* The decoder refuses a value of the wrong size; this makes sure it never sees bytes a short
     * read left unset (CERT EXP33-C). */
    if (read(read_arg, value, sizeof value) == (ssize_t)length) {
        (void)alarm_limits_decode(value, length, param);
    }
    return 0;
}

int limits_store_load(alarm_limits_t *limits)
{
    const int err = settings_subsys_init();

    *limits = alarm_default_limits();
    if (err != 0) {
        return err;
    }
    return settings_load_subtree_direct(LIMITS_STORE_KEY, on_stored, limits);
}

int limits_store_save(const alarm_limits_t *limits)
{
    uint8_t value[ALARM_LIMITS_SIZE];

    alarm_limits_encode(limits, value);
    return settings_save_one(LIMITS_STORE_KEY, value, sizeof value);
}

int limits_store_clear(void)
{
    return settings_delete(LIMITS_STORE_KEY);
}
```

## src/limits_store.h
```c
#ifndef LIMITS_STORE_H
#define LIMITS_STORE_H

#include "alarm.h"

/* Where the limits are kept, as alarm_limits_encode sends them. */
#define LIMITS_STORE_KEY "medsec/limits"

/** Loads the stored limits, or the defaults when none are stored or the stored ones aren't limits
 * a monitor would accept. Returns 0 or -errno from the storage. */
int limits_store_load(alarm_limits_t *limits);

/** Stores `limits` so they survive a reset. Returns 0 or -errno. */
int limits_store_save(const alarm_limits_t *limits);

/** Forgets the stored limits, so the next load gives the defaults. Returns 0 or -errno. */
int limits_store_clear(void);

#endif
```
